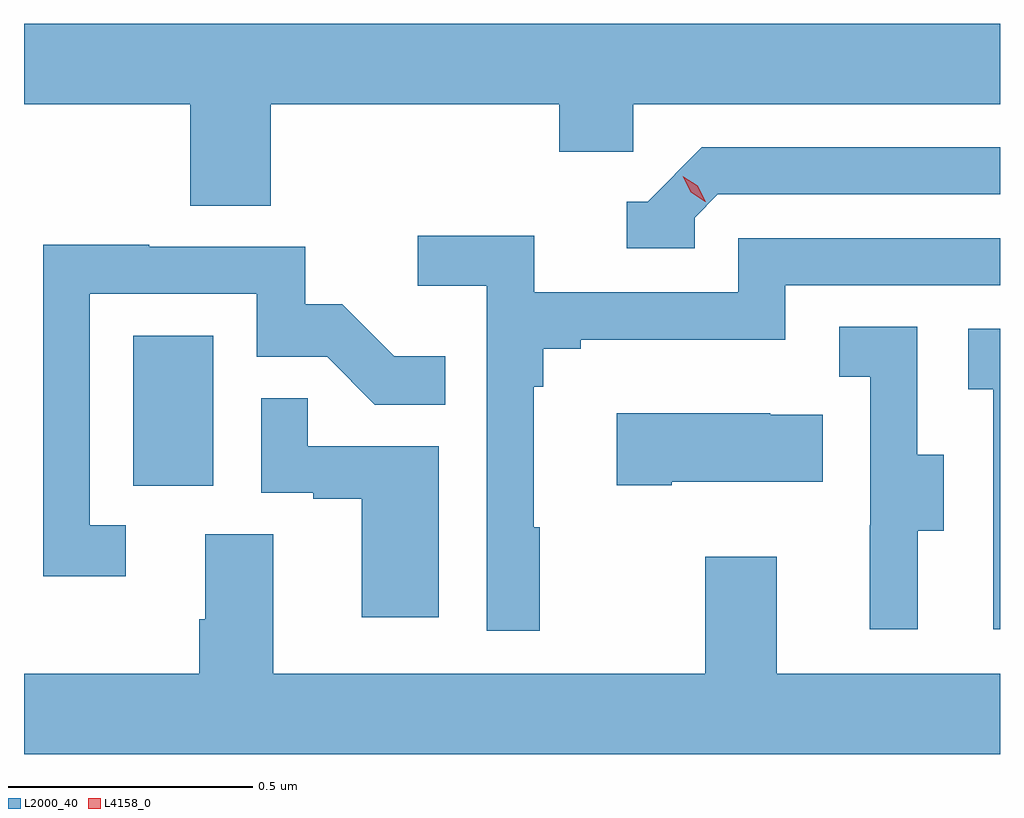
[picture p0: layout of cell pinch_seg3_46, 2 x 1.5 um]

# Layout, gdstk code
import gdstk
lib = gdstk.Library(unit=1e-6, precision=1e-09)
def R(c, l, rs):  # rectangles x0, y0, x1, y1
    for r in rs: c.add(gdstk.rectangle(r[:2], r[2:], *l))
def P(c, l, *ps):  # polygons
    for p in ps: c.add(gdstk.Polygon(p, *l))
L2000_40 = (2000, 40)
L4158_0 = (4158, 0)

pinch_seg3_46 = lib.new_cell('pinch_seg3_46')
R(pinch_seg3_46, L2000_40, [(1080.182,732.102,1080.346,732.409)])
P(pinch_seg3_46, L2000_40, [(1080.464,732.884),(1081.055,732.884),(1081.055,732.786),(1081.206,732.786),(1081.206,732.884),(1081.958,732.884),(1081.958,733.048),(1079.958,733.048),(1079.958,732.884),(1080.299,732.884),(1080.299,732.676),(1080.464,732.676)],
  [(1081.332,732.651),(1081.38,732.699),(1081.958,732.699),(1081.958,732.795),(1081.347,732.795),(1081.236,732.684),(1081.193,732.684),(1081.193,732.588),(1081.332,732.588)],
  [(1081.015,732.017),(1081.003,732.017),(1081.003,732.305),(1081.022,732.305),(1081.022,732.382),(1081.099,732.382),(1081.099,732.401),(1081.518,732.401),(1081.518,732.513),(1081.958,732.513),(1081.958,732.609),(1081.422,732.609),(1081.422,732.498),(1081.004,732.498),(1081.004,732.614),(1080.765,732.614),(1080.765,732.512),(1080.906,732.512),(1080.906,731.805),(1081.015,731.805)],
  [(1080.166,732.021),(1080.093,732.021),(1080.093,732.495),(1080.435,732.495),(1080.435,732.366),(1080.579,732.366),(1080.677,732.268),(1080.821,732.268),(1080.821,732.367),(1080.717,732.367),(1080.61,732.474),(1080.534,732.474),(1080.534,732.591),(1080.215,732.591),(1080.215,732.596),(1079.997,732.596),(1079.997,731.916),(1080.166,731.916)],
  [(1081.789,732.01),(1081.843,732.01),(1081.843,732.165),(1081.788,732.165),(1081.788,732.428),(1081.629,732.428),(1081.629,732.325),(1081.692,732.325),(1081.692,732.021),(1081.691,732.021),(1081.691,731.808),(1081.789,731.808)],
  [(1081.958,732.423),(1081.893,732.423),(1081.893,732.299),(1081.944,732.299),(1081.944,731.808),(1081.958,731.808)],
  [(1080.808,732.183),(1080.539,732.183),(1080.539,732.281),(1080.444,732.281),(1080.444,732.087),(1080.551,732.087),(1080.551,732.075),(1080.65,732.075),(1080.65,731.832),(1080.808,731.832)],
  [(1081.285,732.11),(1081.595,732.11),(1081.595,732.247),(1081.487,732.247),(1081.487,732.25),(1081.173,732.25),(1081.173,732.103),(1081.285,732.103)],
  [(1081.958,731.716),(1081.501,731.716),(1081.501,731.956),(1081.354,731.956),(1081.354,731.716),(1080.469,731.716),(1080.469,732.002),(1080.329,732.002),(1080.329,731.828),(1080.317,731.828),(1080.317,731.716),(1079.958,731.716),(1079.958,731.552),(1081.958,731.552)])
P(pinch_seg3_46, L4158_0, [(1081.354,732.684),(1081.324,732.703),(1081.308,732.736),(1081.308,732.736),(1081.308,732.736),(1081.339,732.717),(1081.355,732.684),(1081.355,732.684)])

lib.write_gds('pinch_seg3_46.gds')
